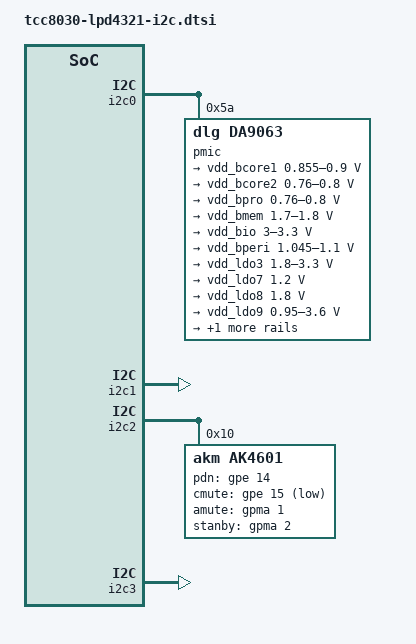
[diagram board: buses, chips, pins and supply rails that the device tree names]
// SPDX-License-Identifier: (GPL-2.0-or-later OR MIT)
/*
 * Copyright (C) Telechips Inc.
 */

#include <dt-bindings/gpio/gpio.h>
#include <dt-bindings/interrupt-controller/arm-gic.h>

&i2c0 {
	status = "okay";
	port-mux = <12>;
	pinctrl-names = "default", "sleep";
	pinctrl-0 = <&i2c12_bus_active>;
	pinctrl-1 = <&i2c12_bus_sleep>;

	#address-cells = <1>;
	#size-cells = <0>;

	pmic@5a {
		compatible = "dlg,da9063";
		reg = <0x5a>;

		da9063_gpio: gpio {
			compatible = "dlg,da9063-gpio";
			gpio-controller;
			#gpio-cells = <2>;
		};

		regulators {
			vdd_bcore1: bcore1 {
				regulator-name = "cpu_0p9v";
				regulator-min-microvolt = <855000>;
				regulator-max-microvolt = <900000>;
				regulator-always-on;
				regulator-boot-on;
			};

			vdd_bcore2: bcore2 {
				regulator-name = "core_0p8v";
				regulator-min-microvolt = <760000>;
				regulator-max-microvolt = <800000>;
				regulator-always-on;
				regulator-boot-on;
			};

			vdd_bpro: bpro {
				regulator-name = "vdd_mali";
				regulator-min-microvolt = <760000>;
				regulator-max-microvolt = <800000>;
				regulator-always-on;
				regulator-boot-on;
			};

			vdd_bmem: bmem {
				regulator-name = "io_1p8v";
				regulator-min-microvolt = <1700000>;
				regulator-max-microvolt = <1800000>;
				regulator-always-on;
				regulator-boot-on;
			};

			vdd_bio: bio {
				regulator-name = "io_3p3v";
				regulator-min-microvolt = <3000000>;
				regulator-max-microvolt = <3300000>;
				regulator-always-on;
				regulator-boot-on;
			};

			vdd_bperi: bperi {
				regulator-name = "mem_1p1v";
				regulator-min-microvolt = <1045000>;
				regulator-max-microvolt = <1100000>;
				regulator-always-on;
				regulator-boot-on;
			};

			vdd_ldo3: ldo3 {
				/* peri_1p8v */
				regulator-name = "sdio_pwr";
				regulator-min-microvolt = <1800000>;
				regulator-max-microvolt = <3300000>;
				regulator-always-on;
				regulator-boot-on;
			};

			vdd_ldo7: ldo7 {
				regulator-name = "cpu_1p2v";
				regulator-min-microvolt = <1200000>;
				regulator-max-microvolt = <1200000>;
				regulator-always-on;
				regulator-boot-on;
			};

			vdd_ldo8: ldo8 {
				regulator-name = "mem_1p8v";
				regulator-min-microvolt = <1800000>;
				regulator-max-microvolt = <1800000>;
				regulator-always-on;
				regulator-boot-on;
			};

			vdd_ldo9: ldo9 {
				regulator-name = "pmic_io_pwr";
				regulator-min-microvolt = <950000>;
				regulator-max-microvolt = <3600000>;
				regulator-always-on;
				regulator-boot-on;
			};

			vdd_ldo11: ldo11 {
				/* peri_3p3v */
				regulator-name = "emmc_pwr";
				regulator-min-microvolt = <3300000>;
				regulator-max-microvolt = <3300000>;
				regulator-always-on;
				regulator-boot-on;
			};
		};
	}; /* pmic da9063 */
};

&i2c1 {
	status = "okay";
	port-mux = <13>; /* [0]SCL [1]SDA */
	pinctrl-names = "default", "sleep";
	pinctrl-0 = <&i2c13_bus_active>;
	pinctrl-1 = <&i2c13_bus_sleep>;

	#address-cells = <1>;
	#size-cells = <0>;

	/* Use burst-mode for touch */
	burst-mode;

	/* Retransmission due to nack response from mxt touch */
	retry-count = <100>;

	ssd253x@48 {
		compatible = "solomon,ssd253x";
		reg = <0x48>;
		status = "disabled";
		pinctrl-names = "default";
		pinctrl-0 = <&tsc_default>;
		int-gpios = <&gpsd1 9 0x0>;
		rst-gpios = <&gpb 16 0x0>;
	};

	ga657x@5d {
		compatible = "goodix,ga657x";
		reg = <0x5d>;
		status = "disabled";
		pinctrl-names = "default";
		pinctrl-0 = <&tsc_default>;

		reset-gpios = <&gpb 16 0x0>;
		irq-gpios = <&gpsd1 9 0x0>;
		irq-flags = <2>;

		touchscreen-max-id = <11>;
		touchscreen-size-x = <1920>;
		touchscreen-size-y = <720>;
		touchscreen-max-w = <512>;
		touchscreen-max-p = <512>;
		/* KEY_HOMEPAGE=172, KEY_BACK=158, KEY_MENU=139 */
		touchscreen-key-map = <172>, <158>;
		goodix,slide-wakeup = <0>;
		goodix,type-a-report = <0>;
		goodix,driver-send-cfg = <0>;
		goodix,resume-in-workqueue = <0>;
		goodix,swap-x2y = <0>;
		goodix,esd-protect = <1>;
		goodix,auto-update = <0>;
		goodix,auto-update-cfg = <0>;
		goodix,power-off-sleep = <0>;
		goodix,pen-suppress-finger = <0>;
		goodix,cfg-group0 = [
			53 D0 02 00 05 05 F5 D5 21 48 2D 0F 5A 41 0E
			05 00 00 32 32 20 00 05 14 14 1A 14 8B 2B 00
		];
	};

	/* BOE panel */
	mxt_touch@4a {
		compatible = "atmel,maxtouch";
		reg = <0x4a>;
		status = "disabled";
		pinctrl-names = "default";
		pinctrl-0 = <&tsc_default>;

		interrupt-parent = <&gpsd1>;
		interrupts = <9 IRQ_TYPE_EDGE_FALLING>;
		reset-gpios = <&gpb 16 GPIO_ACTIVE_LOW>;
	};

	/* AUO panel */
	gt9xx@14 {
		compatible = "goodix,gt9xx";
		reg = <0x14>;
		status = "disabled";
		interrupt-parent = <&gpsd1>;
		interrupts = <9 IRQ_TYPE_EDGE_FALLING>;
		pinctrl-names = "default", "int-output-low","int-output-high", "int-input", "sleep";
		pinctrl-0 = <&auo_tsc0_int_default>;
		pinctrl-1 = <&auo_tsc0_int_output_low>;
		pinctrl-2 = <&auo_tsc0_int_output_high>;
		pinctrl-3 = <&auo_tsc0_int_input>;
		pinctrl-4 = <&auo_tsc0_int_default>;

		reset-gpios = <&gpb 16 GPIO_ACTIVE_LOW>;
		irq-gpios = <&gpsd1 9 IRQ_TYPE_EDGE_FALLING>;
		irq-flags = <2>;

		touchscreen-max-id = <11>;
		touchscreen-size-x = <1920>;
		touchscreen-size-y = <720>;
		touchscreen-max-w = <512>;
		touchscreen-max-p = <512>;
		touchscreen-key-map = <172>, <158>; /*KEY_HOMEPAGE=172, KEY_BACK=158，KEY_MENU=139*/

		goodix,slide-wakeup = <0>;
		goodix,type-a-report = <0>;
		goodix,driver-send-cfg = <0>;
		goodix,resume-in-workqueue = <0>;
		goodix,int-sync = <1>;
		goodix,swap-x2y = <0>;
		goodix,esd-protect = <1>;
		goodix,auto-update-cfg = <0>;
		goodix,power-off-sleep = <0>;
		goodix,pen-suppress-finger = <0>;
		goodix,cfg-group0 = [
			53 D0 02 00 05 05 F5 D5 21 48 2D 0F 5A 41 0E 05 00 00 32 32 20 00 05 14 14 1A 14 8B 2B 00
		];
	};

};

&i2c2 {
	status = "okay";
	port-mux = <20>; /* [0]SCL [1]SDA */
	pinctrl-names = "default", "sleep";
	pinctrl-0 = <&i2c20_bus_active>;
	pinctrl-1 = <&i2c20_bus_sleep>;

	#address-cells = <1>;
	#size-cells = <0>;

	ak4601: ak4601@10 {
		compatible = "akm,ak4601";
		ak4601,pdn-gpio = <&gpe 14 0>;
		/* 0: active high, 1: active low */
		cmute-gpios = <&gpe 15 1>;	// CODEC_MUTE
		amute-gpios = <&gpma 1 0>;	// AMP_MUTE
		stanby-gpios = <&gpma 2 0>;	// AMP_STBY
		reg = <0x10>;
	};
};

&i2c3 {
	status = "okay";
	port-mux = <11>;
	pinctrl-names = "default", "sleep";
	pinctrl-0 = <&i2c11_bus_active>;
	pinctrl-1 = <&i2c11_bus_sleep>;

	#address-cells = <1>;
	#size-cells = <0>;

	/* carplay ack timeout count: 500 */
	retry-count = <500>;

};

&pinctrl {
	i2c11_bus_active: i2c11_bus_active {
		telechips,pins = "gpb-19", "gpb-20";
		telechips,pin-function = <8>;
		telechips,input_buffer_enable;
		telechips,no-pull;
	};

	i2c11_bus_sleep: i2c11_bus_sleep {
		telechips,pins = "gpb-19", "gpb-20";
		telechips,pin-function = <0>;
		telechips,no-pull;
	};

	i2c12_bus_active: i2c12_bus_active {
		telechips,pins = "gpb-21", "gpb-22";
		telechips,pin-function = <8>;
		telechips,input_buffer_enable;
		telechips,no-pull;
	};

	i2c12_bus_sleep: i2c12_bus_sleep {
		telechips,pins = "gpb-21", "gpb-22";
		telechips,pin-function = <0>;
		telechips,no-pull;
	};

	i2c13_bus_active: i2c13_bus_active {
		telechips,pins = "gpb-23", "gpb-24";
		telechips,pin-function = <8>;
		telechips,input_buffer_enable;
		telechips,no-pull;
	};

	i2c13_bus_sleep: i2c13_bus_sleep {
		telechips,pins = "gpb-23", "gpb-24";
		telechips,pin-function = <0>;
		telechips,no-pull;
	};

	i2c20_bus_active: i2c20_bus_active {
		telechips,pins = "gpe-9", "gpe-10";
		telechips,pin-function = <8>;
		telechips,input_buffer_enable;
		telechips,no-pull;
	};

	i2c20_bus_sleep: i2c20_bus_sleep {
		telechips,pins = "gpe-9", "gpe-10";
		telechips,pin-function = <0>;
		telechips,no-pull;
	};

	tsc_default: tsc_default {
		telechips,pins = "gpsd1-9", "gpb-16";
		telechips,pin-function = <0>;
		telechips,no-pull;
		telechips,input_buffer_enable;
	};

	auo_tsc0_int_default: auo_tsc0_int_default {
		telechips,pins = "gpsd1-9", "gpb-16";
		telechips,pin-function = <0>;
		telechips,no-pull;
		telechips,input_buffer_enable;
		telechips,input-enable;
	};

	auo_tsc0_int_output_low: auo_tsc0_int_output_low {
		telechips,pins = "gpsd1-9";
		telechips,pin-function = <0>;
		telechips,output-low;
	};

	auo_tsc0_int_output_high: auo_tsc0_int_output_high {
		telechips,pins = "gpsd1-9";
		telechips,pin-function = <0>;
		telechips,output-high;
	};

	auo_tsc0_int_input: auo_tsc0_int_input {
		telechips,pins = "gpsd1-9";
		telechips,pin-function = <0>;
		telechips,no-pull;
		telechips,input_buffer_enable;
		telechips,input-enable;
	};
};
